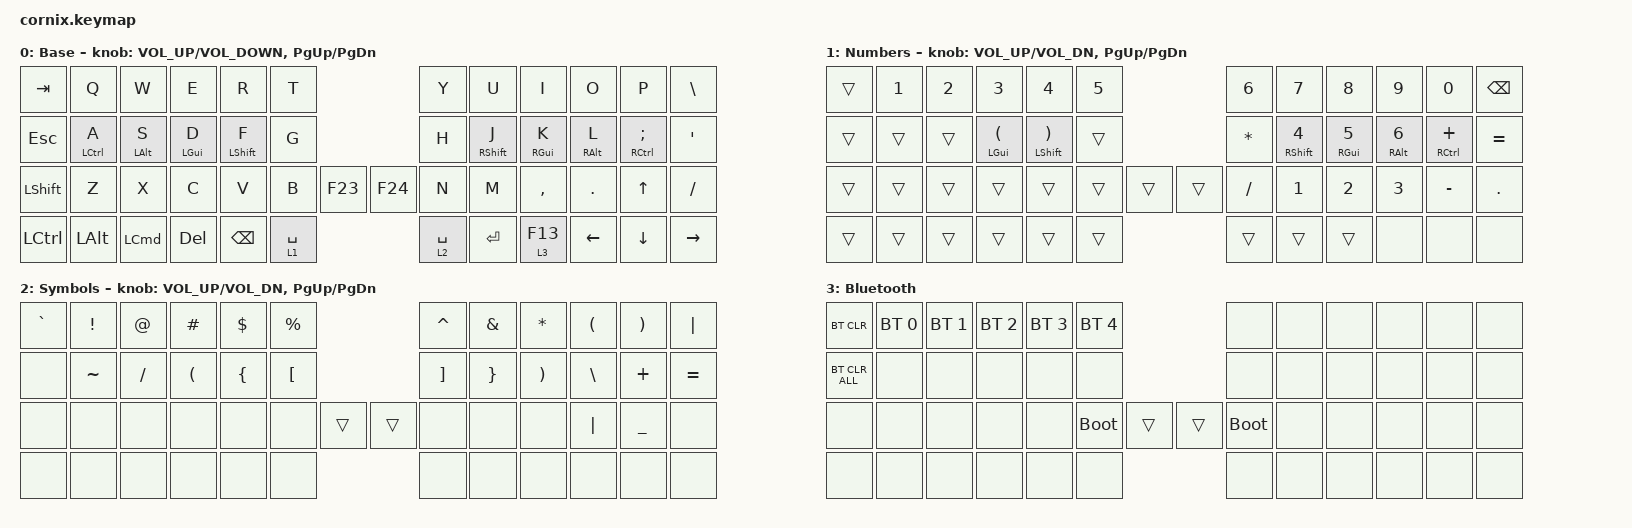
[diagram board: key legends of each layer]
/*
 * Copyright (c) 2020 The ZMK Contributors
 *
 * SPDX-License-Identifier: MIT
 */

#include "zmk-helpers/helper.h"
#include "includes/cornix54.h"

// tap windows for ctl alt and gui

#define HM_TAPPING_TERM 250
#define HM_TAPPING_REPEAT 210

// quick tapping for shift

#define HM_TAPPING_TERM_FAST 200
#define HM_PRIOR_IDLE 70
#define BASE 0
#define WIN 1
#define LOWER 2
#define RAISE 3
#define ADJUST 4
#define NAVI   5
#define NUM    6
#define DEBUG  7

// https://github.com/urob/zmk-config/tree/main#timeless-homerow-mods

#define KEYS_L LT0 LT1 LT2 LT3 LT4 LT5 LM0 LM1 LM2 LM3 LM4 LM5 LB0 LB1 LB2 LB3 LB4 LB5  // left hand
#define KEYS_R RT0 RT1 RT2 RT3 RT4 RT5 RM0 RM1 RM2 RM3 RM4 RM5 RB0 RB1 RB2 RB3 RB4 RB5  // right hand
#define THUMBS LH1 LH0 RH0 RH1
#define KEYS_T LH1 LH0 RH0 RH1
#define ZMK_POINTING_DEFAULT_SCRL_VAL 15

#include <behaviors.dtsi>
#include <dt-bindings/zmk/bt.h>
#include <dt-bindings/zmk/keys.h>

/ {
    behaviors {
        bhm: balanced_homerow_mods {
            compatible = "zmk,behavior-hold-tap";
            #binding-cells = <2>;
            tapping-term-ms = <200>;    // <---[[moderate duration]]
            quick-tap-ms = <0>;
            flavor = "tap-preferred";
            bindings = <&kp>, <&kp>;
        };

        lt: layer_tap {
            compatible = "zmk,behavior-hold-tap";
            #binding-cells = <2>;
            bindings = <&mo>, <&kp>;

            flavor = "hold-preferred";
            tapping-term-ms = <HM_TAPPING_TERM>;
            quick-tap-ms = <200>;
        };
    };

    conditional_layers { compatible = "zmk,conditional-layers"; };

    combos { compatible = "zmk,combos"; };

    keymap {
        compatible = "zmk,keymap";

        default_layer {
            display-name = "Base";
            bindings = <
&kp TAB           &kp Q         &kp W             &kp E        &kp R          &kp T                          &kp Y        &kp U         &kp I        &kp O        &kp P            &kp BSLH
&kp ESC           &bhm LCTRL A  &bhm LALT S       &bhm LGUI D  &bhm LSHFT F   &kp G                          &kp H        &bhm RSHFT J  &bhm RGUI K  &bhm RALT L  &bhm RCTRL SEMI  &kp SQT
&kp LSHIFT        &kp Z         &kp X             &kp C        &kp V          &kp B        &kp F23  &kp F24  &kp N        &kp M         &kp COMMA    &kp DOT      &kp UP_ARROW     &kp SLASH
&kp LEFT_CONTROL  &kp LEFT_ALT  &kp LEFT_COMMAND  &kp DEL      &kp BACKSPACE  &lt 1 SPACE                    &lt 2 SPACE  &kp ENTER     &lt 3 F13    &kp LEFT     &kp DOWN_ARROW   &kp RIGHT
            >;

            sensor-bindings =
                <&inc_dec_kp C_VOLUME_UP C_VOLUME_DOWN>,
                <&inc_dec_kp PG_UP PG_DN>;
        };

        Number_layer {
            display-name = "Numbers";
            bindings = <
&trans  &kp NUMBER_1  &kp NUMBER_2  &kp NUMBER_3                &kp NUMBER_4                  &kp NUMBER_5                  &kp NUMBER_6  &kp NUMBER_7         &kp NUMBER_8  &kp N9              &kp N0           &kp BACKSPACE
&trans  &trans        &trans        &bhm LGUI LEFT_PARENTHESIS  &bhm LSHFT RIGHT_PARENTHESIS  &trans                        &kp ASTERISK  &bhm RSHFT NUMBER_4  &bhm RGUI N5  &bhm RALT NUMBER_6  &bhm RCTRL PLUS  &kp EQUAL
&trans  &trans        &trans        &trans                      &trans                        &trans        &trans  &trans  &kp SLASH     &kp NUMBER_1         &kp NUMBER_2  &kp NUMBER_3        &kp MINUS        &kp PERIOD
&trans  &trans        &trans        &trans                      &trans                        &trans                        &trans        &trans               &trans        &none               &none            &none
            >;

            sensor-bindings = <&inc_dec_kp C_VOL_UP C_VOL_DN &inc_dec_kp PG_UP PG_DN>;
        };

        Symbol_layer {
            display-name = "Symbols";
            bindings = <
&kp GRAVE  &kp EXCL   &kp AT     &kp HASH              &kp DLLR  &kp PRCNT                         &kp CARET          &kp AMPS         &kp ASTRK              &kp LPAR       &kp RPAR        &kp PIPE
&none      &kp TILDE  &kp SLASH  &kp LEFT_PARENTHESIS  &kp LBRC  &kp LEFT_BRACKET                  &kp RIGHT_BRACKET  &kp RIGHT_BRACE  &kp RIGHT_PARENTHESIS  &kp BACKSLASH  &kp PLUS        &kp EQUAL
&none      &none      &none      &none                 &none     &none             &trans  &trans  &none              &none            &none                  &kp PIPE       &kp UNDERSCORE  &none
&none      &none      &none      &none                 &none     &none                             &none              &none            &none                  &none          &none           &none
            >;

            sensor-bindings = <&inc_dec_kp C_VOL_UP C_VOL_DN &inc_dec_kp PG_UP PG_DN>;
        };

        Debug_layer {
            display-name = "Bluetooth";
            bindings = <
&bt BT_CLR      &bt BT_SEL 0  &bt BT_SEL 1  &bt BT_SEL 2  &bt BT_SEL 3  &bt BT_SEL 4                  &none        &none  &none  &none  &none  &none
&bt BT_CLR_ALL  &none         &none         &none         &none         &none                         &none        &none  &none  &none  &none  &none
&none           &none         &none         &none         &none         &bootloader   &trans  &trans  &bootloader  &none  &none  &none  &none  &none
&none           &none         &none         &none         &none         &none                         &none        &none  &none  &none  &none  &none
            >;
        };
    };
};
